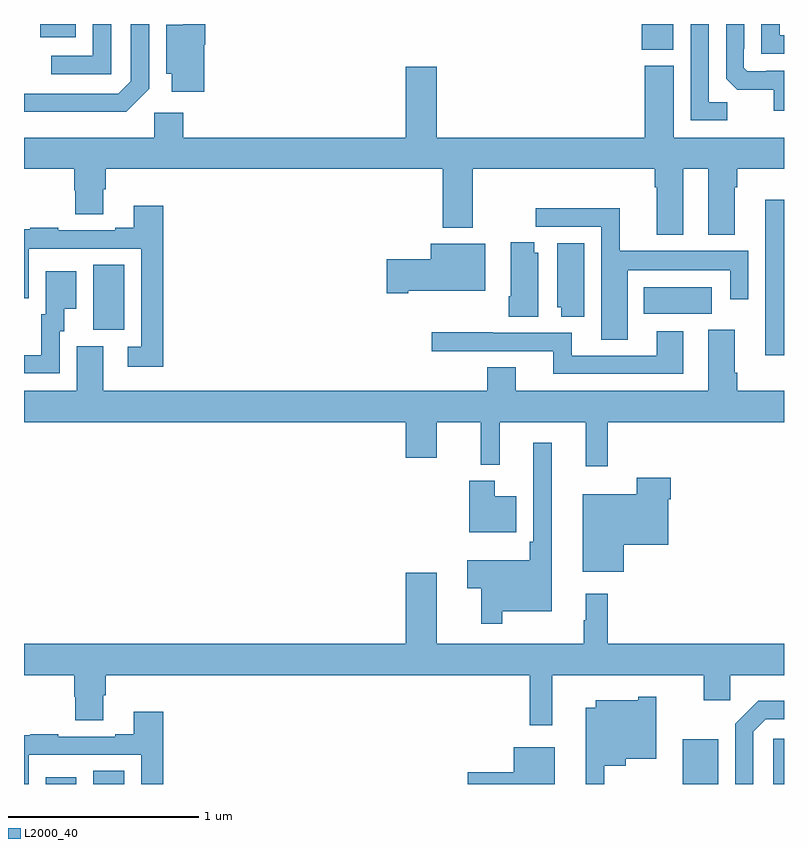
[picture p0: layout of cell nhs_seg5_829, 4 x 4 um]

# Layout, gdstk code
import gdstk
lib = gdstk.Library(unit=1e-6, precision=1e-09)
def R(c, l, rs):  # rectangles x0, y0, x1, y1
    for r in rs: c.add(gdstk.rectangle(r[:2], r[2:], *l))
def P(c, l, *ps):  # polygons
    for p in ps: c.add(gdstk.Polygon(p, *l))
L2000_40 = (2000, 40)

nhs_seg5_829 = lib.new_cell('nhs_seg5_829')
R(nhs_seg5_829, L2000_40, [(163.115,910.799,163.276,910.834), (163.364,910.799,163.528,910.868), (166.467,910.799,166.654,911.035), (166.944,910.799,167,911.037), (166.901,913.056,167,913.873), (163.364,913.189,163.528,913.532), (166.262,913.274,166.621,913.414), (166.25,914.663,166.417,914.799), (163.085,914.729,163.273,914.799)])
P(nhs_seg5_829, L2000_40, [(163.659,914.457),(163.659,914.799),(163.563,914.799),(163.563,914.499),(163.497,914.433),(163,914.433),(163,914.336),(163.538,914.336)],
  [(167,914.739),(166.977,914.739),(166.977,914.799),(166.881,914.799),(166.881,914.643),(167,914.643)],
  [(167,914.554),(166.906,914.554),(166.906,914.55),(166.806,914.55),(166.788,914.568),(166.788,914.668),(166.791,914.668),(166.791,914.799),(166.695,914.799),(166.695,914.512),(166.754,914.453),(166.946,914.453),(166.946,914.342),(167,914.342)],
  [(166.701,914.387),(166.605,914.387),(166.605,914.799),(166.509,914.799),(166.509,914.292),(166.701,914.292)],
  [(163.458,914.799),(163.362,914.799),(163.362,914.631),(163.143,914.631),(163.143,914.535),(163.458,914.535)],
  [(163.949,914.69),(163.955,914.69),(163.955,914.799),(163.838,914.799),(163.838,914.794),(163.748,914.794),(163.748,914.537),(163.778,914.537),(163.778,914.442),(163.949,914.442)],
  [(166.471,914.036),(166.601,914.036),(166.601,913.691),(166.741,913.691),(166.741,913.94),(166.754,913.94),(166.754,914.036),(167,914.036),(167,914.2),(166.42,914.2),(166.42,914.578),(166.268,914.578),(166.268,914.2),(165.172,914.2),(165.172,914.575),(165.008,914.575),(165.008,914.2),(163.838,914.2),(163.838,914.332),(163.686,914.332),(163.686,914.2),(163,914.2),(163,914.036),(163.265,914.036),(163.265,913.923),(163.27,913.923),(163.27,913.798),(163.417,913.798),(163.417,913.93),(163.43,913.93),(163.43,914.036),(165.203,914.036),(165.203,913.727),(165.363,913.727),(165.363,914.036),(166.319,914.036),(166.319,913.94),(166.331,913.94),(166.331,913.691),(166.471,913.691)],
  [(163.733,913.843),(163.577,913.843),(163.577,913.726),(163.481,913.726),(163.481,913.713),(163.181,913.713),(163.181,913.726),(163.033,913.726),(163.033,913.719),(163,913.719),(163,913.356),(163.026,913.356),(163.026,913.617),(163.617,913.617),(163.617,913.101),(163.545,913.101),(163.545,912.996),(163.733,912.996)],
  [(166.177,913.502),(166.716,913.502),(166.716,913.35),(166.812,913.35),(166.812,913.606),(166.136,913.606),(166.136,913.829),(165.693,913.829),(165.693,913.731),(166.037,913.731),(166.037,913.138),(166.177,913.138)],
  [(165.706,913.596),(165.685,913.596),(165.685,913.65),(165.563,913.65),(165.563,913.366),(165.551,913.366),(165.551,913.258),(165.706,913.258)],
  [(165.949,913.646),(165.806,913.646),(165.806,913.308),(165.827,913.308),(165.827,913.258),(165.949,913.258)],
  [(165.022,913.394),(165.427,913.394),(165.427,913.642),(165.14,913.642),(165.14,913.56),(164.91,913.56),(164.91,913.382),(165.022,913.382)],
  [(163.188,913.182),(163.213,913.182),(163.213,913.301),(163.276,913.301),(163.276,913.498),(163.115,913.498),(163.115,913.272),(163.091,913.272),(163.091,913.056),(163,913.056),(163,912.96),(163.188,912.96)],
  [(166.073,912.704),(167,912.704),(167,912.868),(166.754,912.868),(166.754,912.964),(166.741,912.964),(166.741,913.189),(166.601,913.189),(166.601,912.868),(165.589,912.868),(165.589,912.992),(165.437,912.992),(165.437,912.868),(163.417,912.868),(163.417,913.104),(163.277,913.104),(163.277,912.868),(163,912.868),(163,912.704),(165.008,912.704),(165.008,912.516),(165.172,912.516),(165.172,912.704),(165.403,912.704),(165.403,912.479),(165.503,912.479),(165.503,912.704),(165.956,912.704),(165.956,912.471),(166.073,912.471)],
  [(166.471,913.183),(166.331,913.183),(166.331,913.053),(165.883,913.053),(165.883,913.173),(165.467,913.173),(165.467,913.176),(165.147,913.176),(165.147,913.077),(165.785,913.077),(165.785,912.957),(166.471,912.957)],
  [(165.517,911.708),(165.778,911.708),(165.778,912.595),(165.681,912.595),(165.681,912.073),(165.661,912.073),(165.661,911.977),(165.332,911.977),(165.332,911.83),(165.406,911.83),(165.406,911.643),(165.517,911.643)],
  [(166.156,912.059),(166.39,912.059),(166.39,912.299),(166.403,912.299),(166.403,912.412),(166.225,912.412),(166.225,912.325),(165.941,912.325),(165.941,911.915),(166.156,911.915)],
  [(165.592,912.313),(165.478,912.313),(165.478,912.394),(165.344,912.394),(165.344,912.125),(165.592,912.125)],
  [(165.78,911.372),(166.577,911.372),(166.577,911.241),(166.716,911.241),(166.716,911.372),(167,911.372),(167,911.536),(166.073,911.536),(166.073,911.8),(165.956,911.8),(165.956,911.66),(165.945,911.66),(165.945,911.536),(165.172,911.536),(165.172,911.911),(165.008,911.911),(165.008,911.536),(163,911.536),(163,911.372),(163.265,911.372),(163.265,911.259),(163.27,911.259),(163.27,911.134),(163.417,911.134),(163.417,911.266),(163.43,911.266),(163.43,911.372),(165.661,911.372),(165.661,911.109),(165.78,911.109)],
  [(166.053,910.895),(166.168,910.895),(166.168,910.931),(166.327,910.931),(166.327,911.257),(166.233,911.257),(166.233,911.239),(166.01,911.239),(166.01,911.2),(165.956,911.2),(165.956,910.799),(166.053,910.799)],
  [(166.839,911.073),(166.905,911.139),(167,911.139),(167,911.236),(166.864,911.236),(166.743,911.115),(166.743,910.799),(166.839,910.799)],
  [(163.026,910.953),(163.617,910.953),(163.617,910.799),(163.733,910.799),(163.733,911.179),(163.577,911.179),(163.577,911.062),(163.481,911.062),(163.481,911.049),(163.181,911.049),(163.181,911.062),(163.033,911.062),(163.033,911.055),(163,911.055),(163,910.799),(163.026,910.799)],
  [(165.793,910.993),(165.578,910.993),(165.578,910.862),(165.336,910.862),(165.336,910.799),(165.793,910.799)])

lib.write_gds('nhs_seg5_829.gds')
